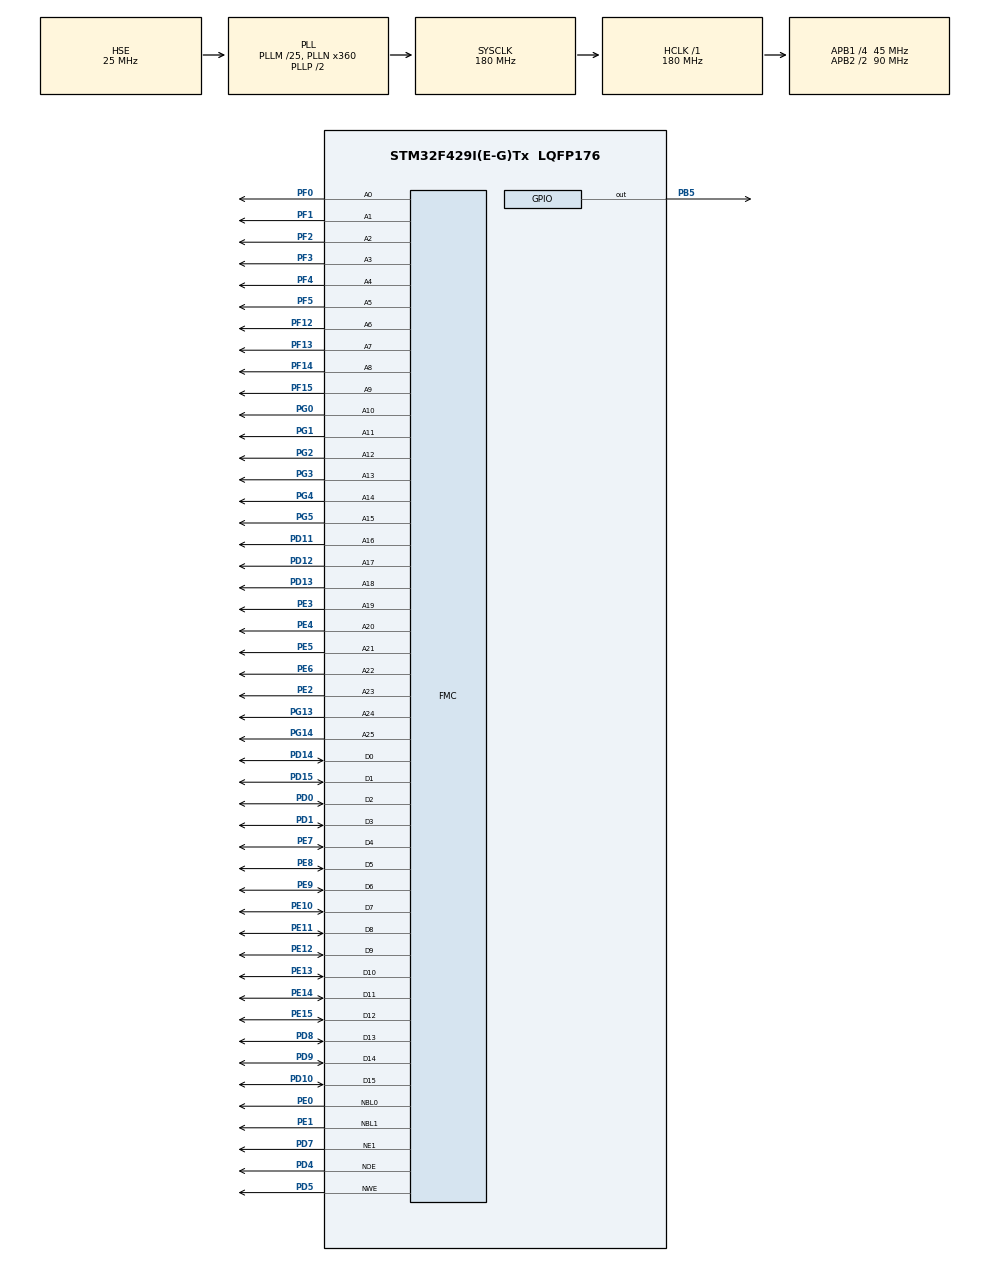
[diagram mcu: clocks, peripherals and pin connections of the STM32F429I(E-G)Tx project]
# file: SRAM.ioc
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FMC.BusTurnAroundDuration1=8
FMC.DataSetupTime1=9
FMC.ExtendedAddressSetupTime1=3
FMC.ExtendedBusTurnAroundDuration1=1
FMC.ExtendedDataSetupTime1=3
FMC.ExtendedMode1=FMC_EXTENDED_MODE_ENABLE
FMC.WriteOperation1=FMC_WRITE_OPERATION_ENABLE
Mcu.Family=STM32F4
Mcu.Name=STM32F429I(E-G)Tx
Mcu.Package=LQFP176
NVIC.PriorityGroup=NVIC_PRIORITYGROUP_4
PA13.Mode=Serial_Wire
PA13.Signal=SYS_JTMS-SWDIO
PA14.Mode=Serial_Wire
PA14.Signal=SYS_JTCK-SWCLK
PB5.PinState=GPIO_PIN_SET
PB5.Signal=GPIO_Output
PD0.Signal=FMC_D2_DA2
PD1.Signal=FMC_D3_DA3
PD10.Signal=FMC_D15_DA15
PD11.Signal=FMC_A16_CLE
PD12.Signal=FMC_A17_ALE
PD13.Signal=FMC_A18
PD14.Signal=FMC_D0_DA0
PD15.Signal=FMC_D1_DA1
PD4.Signal=FMC_NOE
PD5.Signal=FMC_NWE
PD7.Mode=NorPsramChipSelect1_1
PD7.Signal=FMC_NE1
PD8.Signal=FMC_D13_DA13
PD9.Signal=FMC_D14_DA14
PE0.Signal=FMC_NBL0
PE1.Signal=FMC_NBL1
PE10.Signal=FMC_D7_DA7
PE11.Signal=FMC_D8_DA8
PE12.Signal=FMC_D9_DA9
PE13.Signal=FMC_D10_DA10
PE14.Signal=FMC_D11_DA11
PE15.Signal=FMC_D12_DA12
PE2.Signal=FMC_A23
PE3.Signal=FMC_A19
PE4.Signal=FMC_A20
PE5.Signal=FMC_A21
PE6.Signal=FMC_A22
PE7.Signal=FMC_D4_DA4
PE8.Signal=FMC_D5_DA5
PE9.Signal=FMC_D6_DA6
PF0.Signal=FMC_A0
PF1.Signal=FMC_A1
PF12.Signal=FMC_A6
PF13.Signal=FMC_A7
PF14.Signal=FMC_A8
PF15.Signal=FMC_A9
PF2.Signal=FMC_A2
PF3.Signal=FMC_A3
PF4.Signal=FMC_A4
PF5.Signal=FMC_A5
PG0.Signal=FMC_A10
PG1.Signal=FMC_A11
PG13.Signal=FMC_A24
PG14.Signal=FMC_A25
PG2.Signal=FMC_A12
PG3.Signal=FMC_A13
PG4.Signal=FMC_A14_BA0
PG5.Signal=FMC_A15_BA1
PH0/OSC_IN.Mode=HSE-External-Oscillator
PH0/OSC_IN.Signal=RCC_OSC_IN
PH1/OSC_OUT.Mode=HSE-External-Oscillator
PH1/OSC_OUT.Signal=RCC_OSC_OUT
ProjectManager.HeapSize=0x200
ProjectManager.StackSize=0x400
ProjectManager.TargetToolchain=MDK-ARM V5
RCC.48MHZClocksFreq_Value=90000000
RCC.AHBFreq_Value=180000000
RCC.APB1CLKDivider=RCC_HCLK_DIV4
RCC.APB1Freq_Value=45000000
RCC.APB1TimFreq_Value=90000000
RCC.APB2CLKDivider=RCC_HCLK_DIV2
RCC.APB2Freq_Value=90000000
RCC.APB2TimFreq_Value=180000000
RCC.CortexFreq_Value=180000000
RCC.HCLKFreq_Value=180000000
RCC.HSE_VALUE=25000000
RCC.HSI_VALUE=16000000
RCC.LSE_VALUE=32768
RCC.PLLM=25
RCC.PLLN=360
RCC.PLLSourceVirtual=RCC_PLLSOURCE_HSE
RCC.SYSCLKFreq_VALUE=180000000
RCC.SYSCLKSource=RCC_SYSCLKSOURCE_PLLCLK
RCC.VCOOutputFreq_Value=360000000
SH.FMC_A0.0=FMC_A0,26b-a1
SH.FMC_A1.0=FMC_A1,26b-a1
SH.FMC_A10.0=FMC_A10,26b-a1
SH.FMC_A11.0=FMC_A11,26b-a1
SH.FMC_A12.0=FMC_A12,26b-a1
SH.FMC_A13.0=FMC_A13,26b-a1
SH.FMC_A14_BA0.0=FMC_A14,26b-a1
SH.FMC_A15_BA1.0=FMC_A15,26b-a1
SH.FMC_A16_CLE.0=FMC_A16,26b-a1
SH.FMC_A17_ALE.0=FMC_A17,26b-a1
SH.FMC_A18.0=FMC_A18,26b-a1
SH.FMC_A19.0=FMC_A19,26b-a1
SH.FMC_A2.0=FMC_A2,26b-a1
SH.FMC_A20.0=FMC_A20,26b-a1
SH.FMC_A21.0=FMC_A21,26b-a1
SH.FMC_A22.0=FMC_A22,26b-a1
SH.FMC_A23.0=FMC_A23,26b-a1
SH.FMC_A24.0=FMC_A24,26b-a1
SH.FMC_A25.0=FMC_A25,26b-a1
SH.FMC_A3.0=FMC_A3,26b-a1
SH.FMC_A4.0=FMC_A4,26b-a1
SH.FMC_A5.0=FMC_A5,26b-a1
SH.FMC_A6.0=FMC_A6,26b-a1
SH.FMC_A7.0=FMC_A7,26b-a1
SH.FMC_A8.0=FMC_A8,26b-a1
SH.FMC_A9.0=FMC_A9,26b-a1
SH.FMC_D0_DA0.0=FMC_D0,16b-d1
SH.FMC_D10_DA10.0=FMC_D10,16b-d1
SH.FMC_D11_DA11.0=FMC_D11,16b-d1
SH.FMC_D12_DA12.0=FMC_D12,16b-d1
SH.FMC_D13_DA13.0=FMC_D13,16b-d1
SH.FMC_D14_DA14.0=FMC_D14,16b-d1
SH.FMC_D15_DA15.0=FMC_D15,16b-d1
SH.FMC_D1_DA1.0=FMC_D1,16b-d1
SH.FMC_D2_DA2.0=FMC_D2,16b-d1
SH.FMC_D3_DA3.0=FMC_D3,16b-d1
SH.FMC_D4_DA4.0=FMC_D4,16b-d1
SH.FMC_D5_DA5.0=FMC_D5,16b-d1
SH.FMC_D6_DA6.0=FMC_D6,16b-d1
SH.FMC_D7_DA7.0=FMC_D7,16b-d1
SH.FMC_D8_DA8.0=FMC_D8,16b-d1
SH.FMC_D9_DA9.0=FMC_D9,16b-d1
SH.FMC_NBL0.0=FMC_NBL0,2ByteEnable1
SH.FMC_NBL1.0=FMC_NBL1,2ByteEnable1
SH.FMC_NOE.0=FMC_NOE,Sram1
SH.FMC_NWE.0=FMC_NWE,Sram1
board=custom

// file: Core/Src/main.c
/* USER CODE BEGIN Header */
/**
  ******************************************************************************
  * @file           : main.c
  * @brief          : Main program body
  ******************************************************************************
  * @attention
  *
  * <h2><center>&copy; Copyright (c) 2021 STMicroelectronics.
  * All rights reserved.</center></h2>
  *
  * This software component is licensed by ST under BSD 3-Clause license,
  * the "License"; You may not use this file except in compliance with the
  * License. You may obtain a copy of the License at:
  *                        opensource.org/licenses/BSD-3-Clause
  *
  ******************************************************************************
  */
/* USER CODE END Header */
#include "main.h"

/* USER CODE BEGIN Includes */
#include "delay.h"
#include "lcd.h"

/* USER CODE END Includes */

SRAM_HandleTypeDef hsram1;

void SystemClock_Config(void);
static void MX_GPIO_Init(void);
static void MX_FMC_Init(void);

/* USER CODE BEGIN 0 */
uint16_t reg = 0xDB00;
/* USER CODE END 0 */

int main(void)
{

    /* MCU Configuration--------------------------------------------------------*/

    /* Reset of all peripherals, Initializes the Flash interface and the Systick. */
    HAL_Init();

    /* Configure the system clock */
    SystemClock_Config();

    /* Initialize all configured peripherals */
    MX_GPIO_Init();

    MX_FMC_Init();
    /* USER CODE BEGIN 2 */
    LcdInit();           //LCD初始化
    LcdClear(LCD_GRAY); //清空颜色

    uint8_t encodes[] =
        {
            0, 1, 2, 254, 3, 4, 5, 6, 255,                             //狼牙月 伊人憔悴
            7, 8, 9, 254, 10, 11, 12, 13, 14, 255,                     //我举杯 饮尽了风雪
            15, 16, 17, 18, 19, 20, 21, 255,                           //是谁打翻前世柜
            22, 23, 24, 15, 25, 255,                                   //惹尘埃是非
            26, 27, 28, 254, 29, 30, 31, 32, 255,                      //缘字诀 几番轮回
            33, 34, 35, 254, 36, 37, 38, 39, 40, 32, 255,              //你锁眉 哭红颜唤不回
            41, 42, 43, 44, 45, 46, 47, 48, 254, 7, 49, 40, 50, 255,   //纵然青史已经成灰 我爱不灭
            // 51, 52, 53, 54, 55, 56, 57, 58, 255,                       //繁华如三千东流水
            // 7, 59, 60, 61, 62, 49, 12, 63, 255,                        //我只取一瓢爱了解
            // 59, 64, 33, 65, 66, 67, 68, 255,                           //只恋你化身的蝶
            // 33, 69, 53, 14, 254, 70, 71, 12, 72, 73, 255,              //你发如雪 凄美了离别
            // 7, 74, 75, 76, 77, 12, 16, 255,                            //我焚香感动了谁
            // 78, 79, 2, 254, 80, 32, 81, 82, 83, 255,                   //邀明月 让回忆皎洁
            // 49, 84, 2, 85, 86, 87, 71, 255,                            //爱在月光下完美
            // 33, 69, 53, 14, 254, 88, 89, 12, 90, 91, 255,              //你发如雪 纷飞了眼泪
            // 7, 92, 93, 94, 95, 12, 16, 255,                            //我等待苍老了谁
            // 37, 23, 96, 254, 97, 98, 67, 99, 2, 255,                   //红尘醉 微醺的岁月
            // 7, 100, 101, 102, 254, 103, 104, 20, 49, 33, 67, 105, 255, //我用无悔 刻永世爱你的碑
            253};

    LcdSetColor(LCD_BLACK, LCD_GRAY);
    LcdShowString("hello, Zhenhaiyang!\n");
    LcdSetFontSize(FS5);
    LcdShowChinese(encodes);
    LcdSetFontSize(FS2);
    LcdShowNumber(123456789);
    /* USER CODE END 2 */
    /* Infinite loop */
    while (1)
    {

    }
}

void SystemClock_Config(void)
{
    RCC_OscInitTypeDef RCC_OscInitStruct = {0};
    RCC_ClkInitTypeDef RCC_ClkInitStruct = {0};

    /** Configure the main internal regulator output voltage
  */
    __HAL_RCC_PWR_CLK_ENABLE();
    __HAL_PWR_VOLTAGESCALING_CONFIG(PWR_REGULATOR_VOLTAGE_SCALE1);
    /** Initializes the RCC Oscillators according to the specified parameters
  * in the RCC_OscInitTypeDef structure.
  */
    RCC_OscInitStruct.OscillatorType = RCC_OSCILLATORTYPE_HSE;
    RCC_OscInitStruct.HSEState = RCC_HSE_ON;
    RCC_OscInitStruct.PLL.PLLState = RCC_PLL_ON;
    RCC_OscInitStruct.PLL.PLLSource = RCC_PLLSOURCE_HSE;
    RCC_OscInitStruct.PLL.PLLM = 25;
    RCC_OscInitStruct.PLL.PLLN = 360;
    RCC_OscInitStruct.PLL.PLLP = RCC_PLLP_DIV2;
    RCC_OscInitStruct.PLL.PLLQ = 4;
    if (HAL_RCC_OscConfig(&RCC_OscInitStruct) != HAL_OK)
    {
        Error_Handler();
    }
    /** Activate the Over-Drive mode
  */
    if (HAL_PWREx_EnableOverDrive() != HAL_OK)
    {
        Error_Handler();
    }
    /** Initializes the CPU, AHB and APB buses clocks
  */
    RCC_ClkInitStruct.ClockType = RCC_CLOCKTYPE_HCLK | RCC_CLOCKTYPE_SYSCLK | RCC_CLOCKTYPE_PCLK1 | RCC_CLOCKTYPE_PCLK2;
    RCC_ClkInitStruct.SYSCLKSource = RCC_SYSCLKSOURCE_PLLCLK;
    RCC_ClkInitStruct.AHBCLKDivider = RCC_SYSCLK_DIV1;
    RCC_ClkInitStruct.APB1CLKDivider = RCC_HCLK_DIV4;
    RCC_ClkInitStruct.APB2CLKDivider = RCC_HCLK_DIV2;

    if (HAL_RCC_ClockConfig(&RCC_ClkInitStruct, FLASH_LATENCY_5) != HAL_OK)
    {
        Error_Handler();
    }
}

/* FMC initialization function */
static void MX_FMC_Init(void)
{

    FMC_NORSRAM_TimingTypeDef Timing = {0};
    FMC_NORSRAM_TimingTypeDef ExtTiming = {0};

    /** Perform the SRAM1 memory initialization sequence
  */
    hsram1.Instance = FMC_NORSRAM_DEVICE;
    hsram1.Extended = FMC_NORSRAM_EXTENDED_DEVICE;
    /* hsram1.Init */
    hsram1.Init.NSBank = FMC_NORSRAM_BANK1;
    hsram1.Init.DataAddressMux = FMC_DATA_ADDRESS_MUX_DISABLE;
    hsram1.Init.MemoryType = FMC_MEMORY_TYPE_SRAM;
    hsram1.Init.MemoryDataWidth = FMC_NORSRAM_MEM_BUS_WIDTH_16;
    hsram1.Init.BurstAccessMode = FMC_BURST_ACCESS_MODE_DISABLE;
    hsram1.Init.WaitSignalPolarity = FMC_WAIT_SIGNAL_POLARITY_LOW;
    hsram1.Init.WrapMode = FMC_WRAP_MODE_DISABLE;
    hsram1.Init.WaitSignalActive = FMC_WAIT_TIMING_BEFORE_WS;
    hsram1.Init.WriteOperation = FMC_WRITE_OPERATION_ENABLE;
    hsram1.Init.WaitSignal = FMC_WAIT_SIGNAL_DISABLE;
    hsram1.Init.ExtendedMode = FMC_EXTENDED_MODE_ENABLE;
    hsram1.Init.AsynchronousWait = FMC_ASYNCHRONOUS_WAIT_DISABLE;
    hsram1.Init.WriteBurst = FMC_WRITE_BURST_DISABLE;
    hsram1.Init.ContinuousClock = FMC_CONTINUOUS_CLOCK_SYNC_ONLY;
    hsram1.Init.PageSize = FMC_PAGE_SIZE_NONE;
    /* Timing */
    Timing.AddressSetupTime = 15;
    Timing.AddressHoldTime = 15;
    Timing.DataSetupTime = 9;
    Timing.BusTurnAroundDuration = 8;
    Timing.CLKDivision = 16;
    Timing.DataLatency = 17;
    Timing.AccessMode = FMC_ACCESS_MODE_A;
    /* ExtTiming */
    ExtTiming.AddressSetupTime = 3;
    ExtTiming.AddressHoldTime = 15;
    ExtTiming.DataSetupTime = 3;
    ExtTiming.BusTurnAroundDuration = 1;
    ExtTiming.CLKDivision = 16;
    ExtTiming.DataLatency = 17;
    ExtTiming.AccessMode = FMC_ACCESS_MODE_A;

    if (HAL_SRAM_Init(&hsram1, &Timing, &ExtTiming) != HAL_OK)
    {
        Error_Handler();
    }

}

static void MX_GPIO_Init(void)
{
    GPIO_InitTypeDef GPIO_InitStruct = {0};

    /* GPIO Ports Clock Enable */
    __HAL_RCC_GPIOE_CLK_ENABLE();
    __HAL_RCC_GPIOF_CLK_ENABLE();
    __HAL_RCC_GPIOH_CLK_ENABLE();
    __HAL_RCC_GPIOG_CLK_ENABLE();
    __HAL_RCC_GPIOD_CLK_ENABLE();
    __HAL_RCC_GPIOA_CLK_ENABLE();
    __HAL_RCC_GPIOB_CLK_ENABLE();

    /*Configure GPIO pin Output Level */
    HAL_GPIO_WritePin(GPIOB, GPIO_PIN_5, GPIO_PIN_SET);

    /*Configure GPIO pin : PB5 */
    GPIO_InitStruct.Pin = GPIO_PIN_5;
    GPIO_InitStruct.Mode = GPIO_MODE_OUTPUT_PP;
    GPIO_InitStruct.Pull = GPIO_NOPULL;
    GPIO_InitStruct.Speed = GPIO_SPEED_FREQ_LOW;
    HAL_GPIO_Init(GPIOB, &GPIO_InitStruct);
}

void Error_Handler(void)
{
    __disable_irq();
    while (1)
    {
    }
}

/************************ (C) COPYRIGHT STMicroelectronics *****END OF FILE****/
